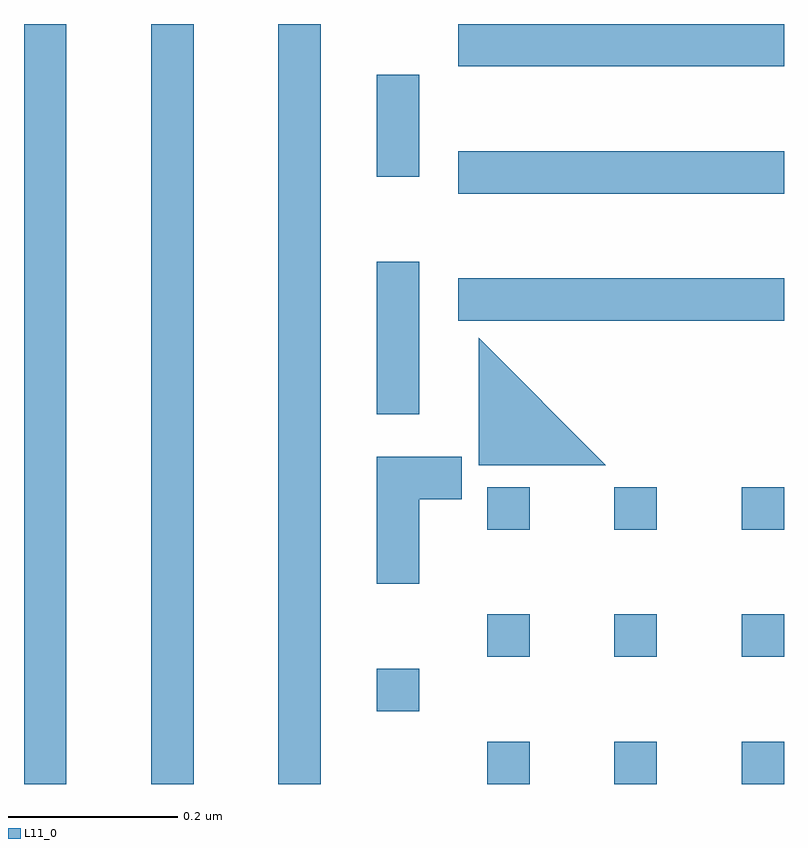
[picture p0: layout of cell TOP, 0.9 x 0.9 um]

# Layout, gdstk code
import gdstk
lib = gdstk.Library(unit=1e-6, precision=1e-09)
def R(c, l, rs):  # rectangles x0, y0, x1, y1
    for r in rs: c.add(gdstk.rectangle(r[:2], r[2:], *l))
def A(c, l, x, y, w, h, nx, ny, dx, dy):  # array of equal rectangles
    R(c, l, [(x+i*dx, y+j*dy, x+i*dx+w, y+j*dy+h) for i in range(nx) for j in range(ny)])
def P(c, l, *ps):  # polygons
    for p in ps: c.add(gdstk.Polygon(p, *l))
L11_0 = (11, 0)

top = lib.new_cell('TOP')
A(top, L11_0, 0.064, 0.064, 0.05, 0.896, 3, 1, 0.15, 0)
A(top, L11_0, 0.61, 0.064, 0.05, 0.05, 3, 3, 0.15, 0.15)
A(top, L11_0, 0.576, 0.61, 0.384, 0.05, 1, 3, 0, 0.15)
R(top, L11_0, [(0.48,0.15,0.53,0.2), (0.48,0.5,0.53,0.68), (0.48,0.78,0.53,0.9)])
P(top, L11_0, [(0.48,0.3),(0.48,0.45),(0.58,0.45),(0.58,0.4),(0.53,0.4),(0.53,0.3)],
  [(0.6,0.44),(0.6,0.59),(0.75,0.44)])

lib.write_gds('TOP.gds')
